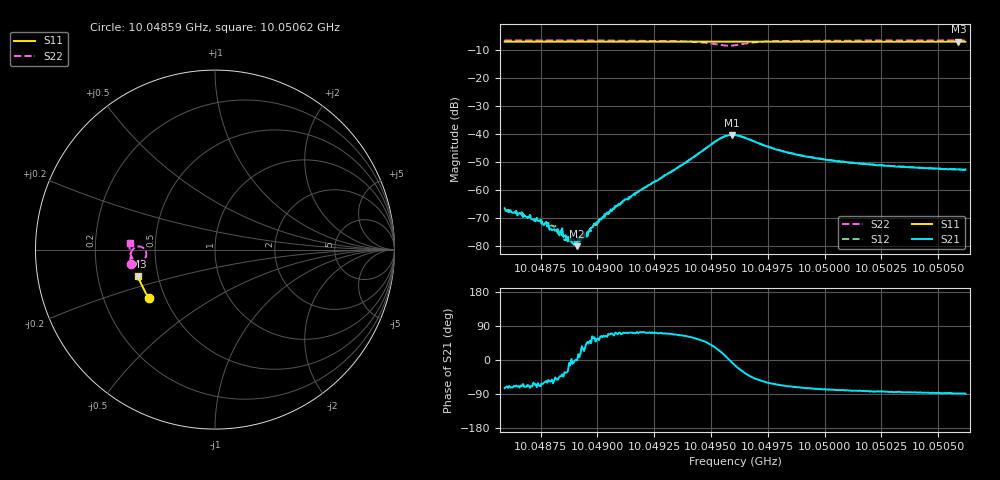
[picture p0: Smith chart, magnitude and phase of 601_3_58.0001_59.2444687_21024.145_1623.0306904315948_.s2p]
#  HZ  S  RI  R  50.00
! Rohde & Schwarz Vector Network Analyzer
! Rohde-Schwarz,ZNB20-2Port,1311601062101988,3.16
! Created: UTC 3/21/2024, 1:17:14 AM
! freq[Hz]  re:S11  im:S11  re:S21  im:S21  re:S12  im:S12  re:S22  im:S22
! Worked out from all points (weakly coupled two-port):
!   401 points, 10.04859 GHz to 10.05062 GHz, reference 50 ohm
!   highest |S21| = -40.25 dB at 10.04959 GHz (marker M1); lowest = -80.1 dB at 10.04891 GHz (marker M2)
!   lowest |S11| = -6.9 dB at 10.05059 GHz (marker M3), VSWR 2.65, Z = 19.3 - j7.31 ohm
!   |S11| at or under -10 dB: nowhere
!   |S22| runs from -8.3 to -6.4 dB; largest |S21 - S12| = 0.00072
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1.0048592e10  -0.3692 -0.2673  0.00013 -0.000456  0.000148 -0.000407  -0.4701 -0.0791
1.0048663e10  -0.3718 -0.2635  0.000146 -0.000347  0.000186 -0.000348  -0.4708 -0.0739
1.0048774e10  -0.3759 -0.2573  0.000151 -0.000219  0.000149 -0.000229  -0.4716 -0.0654
1.004881e10  -0.377 -0.2553  0.000118 -0.00016  0.000141 -0.000169  -0.4717 -0.0624
1.0048835e10  -0.378 -0.2539  0.000119 -0.000111  0.000112 -0.000105  -0.472 -0.0605
1.004886e10  -0.3789 -0.2525  0.000131 -8.65e-05  0.000118 -5.07e-05  -0.4721 -0.0584
1.0048876e10  -0.3795 -0.2514  0.000123 -1.71e-05  0.000151 -5.27e-05  -0.472 -0.0573
1.0048901e10  -0.3802 -0.2502  0.000112 -1.41e-06  0.000117 -1.33e-05  -0.4721 -0.0552
1.0048911e10  -0.3806 -0.2496  9.94e-05 -8.54e-07  0.000125 3.71e-05  -0.4722 -0.0542
1.0048931e10  -0.3814 -0.2487  0.00012 8.77e-05  0.000121 0.0001  -0.4722 -0.0524
1.0048947e10  -0.3819 -0.2476  0.000118 8.28e-05  0.000136 0.000115  -0.4724 -0.0511
1.0049048e10  -0.3852 -0.242  0.000145 0.000373  0.000133 0.000348  -0.4722 -0.0421
1.0049119e10  -0.3875 -0.2379  0.000206 0.000625  0.000193 0.00065  -0.4717 -0.0352
1.0049271e10  -0.3926 -0.2291  0.000514 0.00148  0.000419 0.00151  -0.468 -0.0171
1.0049535e10  -0.3999 -0.2133  0.00734 0.00353  0.00709 0.00399  -0.4 0.00988
1.0049591e10  -0.4011 -0.2105  0.00967 -0.000912  0.00972 -0.000238  -0.3836 -0.0324
1.0049606e10  -0.4017 -0.2097  0.00935 -0.00237  0.00953 -0.00171  -0.3882 -0.0447
1.0049788e10  -0.4075 -0.1993  0.00229 -0.00483  0.00265 -0.00472  -0.4605 -0.0475
1.0049946e10  -0.4118 -0.19  0.000973 -0.00372  0.0012 -0.00365  -0.4714 -0.0244
1.0050285e10  -0.4202 -0.1692  0.000254 -0.0027  0.000438 -0.00269  -0.4753 0.0087
1.005059e10  -0.4267 -0.1504  7.49e-05 -0.00235  0.000224 -0.00236  -0.4747 0.0322
1.005062e10  -0.4276 -0.1485  4.9e-05 -0.00234  0.000156 -0.0023  -0.4746 0.0344
